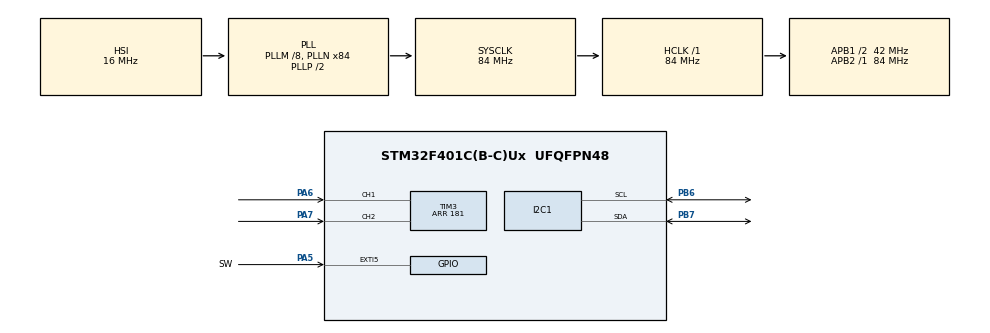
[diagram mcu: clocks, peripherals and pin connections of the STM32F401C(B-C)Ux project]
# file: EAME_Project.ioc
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Mcu.Family=STM32F4
Mcu.Name=STM32F401C(B-C)Ux
Mcu.Package=UFQFPN48
NVIC.EXTI9_5_IRQn=true\:0\:0\:false\:false\:true\:true\:true\:true
NVIC.PriorityGroup=NVIC_PRIORITYGROUP_4
PA13.Mode=Serial_Wire
PA13.Signal=SYS_JTMS-SWDIO
PA14.Mode=Serial_Wire
PA14.Signal=SYS_JTCK-SWCLK
PA5.GPIO_Label=SW
PA5.GPIO_ModeDefaultEXTI=GPIO_MODE_IT_FALLING
PA5.Signal=GPXTI5
PA6.Signal=S_TIM3_CH1
PA7.Signal=S_TIM3_CH2
PB6.Mode=I2C
PB6.Signal=I2C1_SCL
PB7.Mode=I2C
PB7.Signal=I2C1_SDA
ProjectManager.HeapSize=0x200
ProjectManager.StackSize=0x400
ProjectManager.TargetToolchain=STM32CubeIDE
RCC.48MHZClocksFreq_Value=42000000
RCC.AHBFreq_Value=84000000
RCC.APB1CLKDivider=RCC_HCLK_DIV2
RCC.APB1Freq_Value=42000000
RCC.APB1TimFreq_Value=84000000
RCC.APB2Freq_Value=84000000
RCC.APB2TimFreq_Value=84000000
RCC.CortexFreq_Value=84000000
RCC.HCLKFreq_Value=84000000
RCC.HSE_VALUE=25000000
RCC.HSI_VALUE=16000000
RCC.LSE_VALUE=32768
RCC.PLLM=8
RCC.PLLN=84
RCC.SYSCLKFreq_VALUE=84000000
RCC.SYSCLKSource=RCC_SYSCLKSOURCE_PLLCLK
RCC.VCOOutputFreq_Value=168000000
SH.S_TIM3_CH1.0=TIM3_CH1,Encoder_Interface
SH.S_TIM3_CH2.0=TIM3_CH2,Encoder_Interface
TIM3.Period=181
board=custom

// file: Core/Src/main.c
/* USER CODE BEGIN Header */
/**
  ******************************************************************************
  * @file           : main.c
  * @brief          : Main program body
  ******************************************************************************
  * @attention
  *
  * Copyright (c) 2022 STMicroelectronics.
  * All rights reserved.
  *
  * This software is licensed under terms that can be found in the LICENSE file
  * in the root directory of this software component.
  * If no LICENSE file comes with this software, it is provided AS-IS.
  *
  ******************************************************************************
  */
/* USER CODE END Header */
#include "main.h"
#include "i2c.h"
#include "tim.h"
#include "gpio.h"

/* USER CODE BEGIN Includes */
#include <stdio.h>
#include <string.h>

#include "lcd_i2c.h"
#include "menu.h"
#include "common.h"
#include "menu_callbacks.h"
#include <stdbool.h>
/* USER CODE END Includes */

/* USER CODE BEGIN PV */
struct lcd_disp disp;

/* USER CODE END PV */

void SystemClock_Config(void);

int main(void)
{

  /* MCU Configuration--------------------------------------------------------*/

  /* Reset of all peripherals, Initializes the Flash interface and the Systick. */
  HAL_Init();

  /* Configure the system clock */
  SystemClock_Config();

  /* Initialize all configured peripherals */
  MX_GPIO_Init();
  MX_I2C1_Init();
  MX_TIM3_Init();
  /* USER CODE BEGIN 2 */

    HAL_TIM_Encoder_Start(&htim3, TIM_CHANNEL_ALL);
    disp.addr= (0x27<<1);
    disp.bl= true;
    lcd_init(&disp);
    sprintf((char*)disp.f_line,"costam");
    sprintf((char*)disp.s_line,"dziala");
    lcd_display(&disp);
    menu_refresh();
  /* USER CODE END 2 */

  /* Infinite loop */
  /* USER CODE BEGIN WHILE */
  while (1)
  {key_next_press();
	  key_prev_press();

	  //menu_refresh();
 HAL_Delay(10);
    /* USER CODE END WHILE */

  }
}

void SystemClock_Config(void)
{
  RCC_OscInitTypeDef RCC_OscInitStruct = {0};
  RCC_ClkInitTypeDef RCC_ClkInitStruct = {0};

  /** Configure the main internal regulator output voltage
  */
  __HAL_RCC_PWR_CLK_ENABLE();
  __HAL_PWR_VOLTAGESCALING_CONFIG(PWR_REGULATOR_VOLTAGE_SCALE2);

  /** Initializes the RCC Oscillators according to the specified parameters
  * in the RCC_OscInitTypeDef structure.
  */
  RCC_OscInitStruct.OscillatorType = RCC_OSCILLATORTYPE_HSI;
  RCC_OscInitStruct.HSIState = RCC_HSI_ON;
  RCC_OscInitStruct.HSICalibrationValue = RCC_HSICALIBRATION_DEFAULT;
  RCC_OscInitStruct.PLL.PLLState = RCC_PLL_ON;
  RCC_OscInitStruct.PLL.PLLSource = RCC_PLLSOURCE_HSI;
  RCC_OscInitStruct.PLL.PLLM = 8;
  RCC_OscInitStruct.PLL.PLLN = 84;
  RCC_OscInitStruct.PLL.PLLP = RCC_PLLP_DIV2;
  RCC_OscInitStruct.PLL.PLLQ = 4;
  if (HAL_RCC_OscConfig(&RCC_OscInitStruct) != HAL_OK)
  {
    Error_Handler();
  }

  /** Initializes the CPU, AHB and APB buses clocks
  */
  RCC_ClkInitStruct.ClockType = RCC_CLOCKTYPE_HCLK|RCC_CLOCKTYPE_SYSCLK
                              |RCC_CLOCKTYPE_PCLK1|RCC_CLOCKTYPE_PCLK2;
  RCC_ClkInitStruct.SYSCLKSource = RCC_SYSCLKSOURCE_PLLCLK;
  RCC_ClkInitStruct.AHBCLKDivider = RCC_SYSCLK_DIV1;
  RCC_ClkInitStruct.APB1CLKDivider = RCC_HCLK_DIV2;
  RCC_ClkInitStruct.APB2CLKDivider = RCC_HCLK_DIV1;

  if (HAL_RCC_ClockConfig(&RCC_ClkInitStruct, FLASH_LATENCY_2) != HAL_OK)
  {
    Error_Handler();
  }
}

/* USER CODE BEGIN 4 */
void HAL_GPIO_EXTI_Callback(uint16_t GPIO_Pin)
{
	if(GPIO_Pin== SW_Pin)
	{
		key_enter_press();

	}
}
/* USER CODE END 4 */

void Error_Handler(void)
{
  __disable_irq();
  while (1)
  {
  }
}
